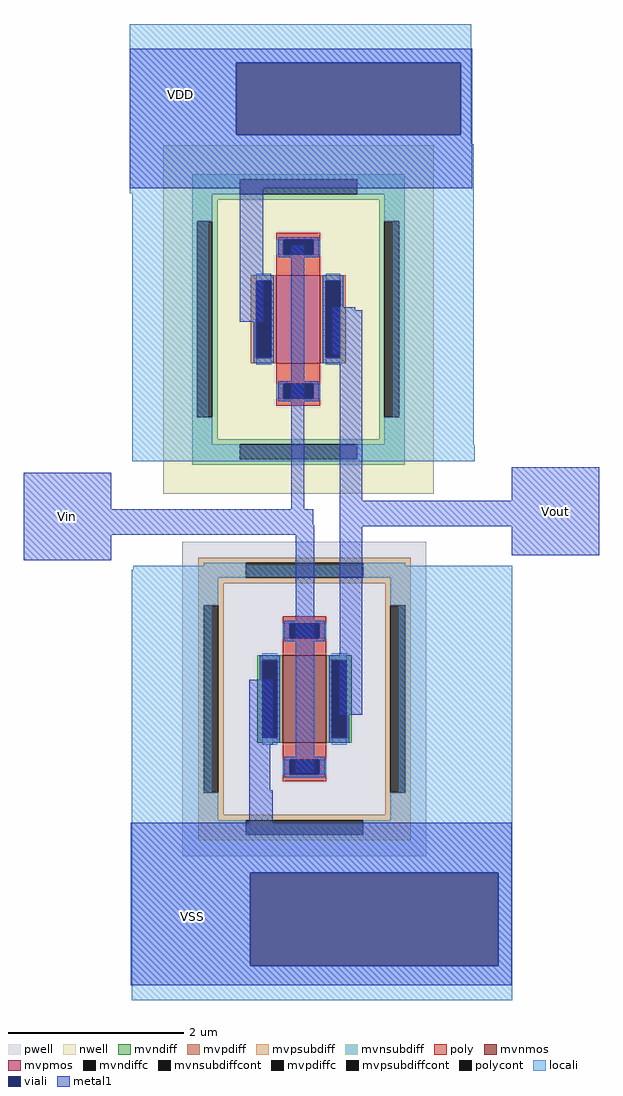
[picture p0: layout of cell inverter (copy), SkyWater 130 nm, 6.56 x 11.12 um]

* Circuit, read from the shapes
.subckt inverter (copy) Vout Vin VSS VDD
XM1 Vout Vin VSS VSS sky130_fd_pr__nfet_g5v0d10v5 w=1 l=0.5
XM2 Vout Vin VDD VDD sky130_fd_pr__pfet_g5v0d10v5 w=1 l=0.5
.ends

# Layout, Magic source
magic
tech sky130A
magscale 1 2
<< locali >>
rect 728 1352 1506 1440
rect 728 1188 970 1352
rect 1482 1188 1506 1352
rect 728 1166 1506 1188
rect 728 1054 1512 1166
rect 734 480 906 1054
rect 1328 480 1512 1054
rect 734 444 1514 480
rect 736 196 1600 206
rect 732 182 1600 196
rect 732 -386 914 182
rect 1342 -386 1600 182
rect 732 -494 1600 -386
rect 732 -706 1002 -494
rect 1568 -706 1600 -494
rect 732 -784 1600 -706
<< viali >>
rect 970 1188 1482 1352
rect 1002 -706 1568 -494
<< metal1 >>
rect 728 1352 1508 1384
rect 728 1188 970 1352
rect 1482 1188 1508 1352
rect 728 1066 1508 1188
rect 978 762 1032 1066
rect 486 334 686 418
rect 1096 334 1126 936
rect 1190 788 1242 794
rect 1190 688 1258 788
rect 1206 354 1258 688
rect 1598 354 1798 430
rect 486 298 1146 334
rect 486 276 1148 298
rect 486 218 686 276
rect 1000 -202 1054 -54
rect 1000 -306 1048 -202
rect 1106 -266 1148 276
rect 1206 296 1798 354
rect 1206 -134 1258 296
rect 1598 230 1798 296
rect 1000 -380 1054 -306
rect 730 -494 1598 -380
rect 730 -706 1002 -494
rect 1568 -706 1598 -494
rect 730 -750 1598 -706
use sky130_fd_pr__nfet_g5v0d10v5_UNEQ2N  XM1
transform 1 0 1126 0 1 -98
box -278 -358 278 358
use sky130_fd_pr__pfet_g5v0d10v5_KLAZY6  XM3
transform 1 0 1112 0 1 767
box -308 -397 308 397
<< labels >>
flabel metal1 744 1180 944 1380 0 FreeSans 256 0 0 0 VDD
port 3 nsew
flabel metal1 770 -694 970 -494 0 FreeSans 256 0 0 0 VSS
port 2 nsew
flabel metal1 486 218 686 418 0 FreeSans 256 0 0 0 Vin
port 1 nsew
flabel metal1 1598 230 1798 430 0 FreeSans 256 0 0 0 Vout
port 0 nsew
<< end >>

# cell sky130_fd_pr__nfet_g5v0d10v5_UNEQ2N: kit device sky130_fd_pr__nfet_g5v0d10v5, w 1.0 l 0.5 m 1 nf 1 diffcov 100 polycov 100 guard 1 glc 1 grc 1 gtc 1 gbc 1 tbcov 100 rlcov 100 topc 1 botc 1 poverlap 0 doverlap 1 lmin 0.50 wmin 0.42 compatible {sky130_fd_pr__nfet_01v8 sky130_fd_pr__nfet_01v8_lvt sky130_fd_bs_flash__special_sonosfet_star sky130_fd_pr__nfet_g5v0d10v5 sky130_fd_pr__nfet_05v0_nvt sky130_fd_pr__nfet_03v3_nvt} full_metal 1 viasrc 100 viadrn 100 viagate 100 viagb 0 viagr 0 viagl 0 viagt 0

# cell sky130_fd_pr__pfet_g5v0d10v5_KLAZY6: kit device sky130_fd_pr__pfet_g5v0d10v5, w 1.0 l 0.5 m 1 nf 1 diffcov 100 polycov 100 guard 1 glc 1 grc 1 gtc 1 gbc 1 tbcov 100 rlcov 100 topc 1 botc 1 poverlap 0 doverlap 1 lmin 0.50 wmin 0.42 compatible {sky130_fd_pr__pfet_01v8 sky130_fd_pr__pfet_01v8_lvt sky130_fd_pr__pfet_01v8_hvt sky130_fd_pr__pfet_g5v0d10v5} full_metal 1 viasrc 100 viadrn 100 viagate 100 viagb 0 viagr 0 viagl 0 viagt 0
